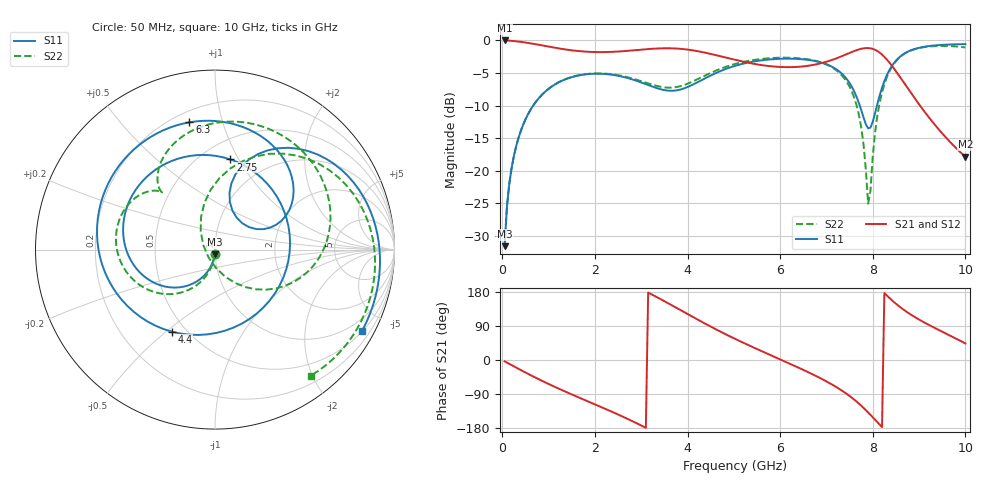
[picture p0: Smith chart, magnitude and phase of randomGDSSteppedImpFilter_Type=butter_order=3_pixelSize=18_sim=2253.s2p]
! freq	dB(S11)	phase(S11)	dB(S12)	phase(S12)
!  dB(S21)	phase(S21)	dB(S22)	phase(S22)
!S-par simulation data
#  GHz  S  DB  R 50
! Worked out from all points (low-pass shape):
!   200 points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, 50 MHz to 10 GHz, reference 50 ohm
!   highest |S21| = -0.01 dB at 50 MHz (marker M1); lowest = -17.8 dB at 10 GHz (marker M2)
!   |S21| within 3 dB of the highest: start of sweep to 5.043 GHz; 7.114 GHz to 8.313 GHz (1.199 GHz wide, 15.5 % of centre)
!   lowest |S11| = -31.5 dB at 50 MHz (marker M3), VSWR 1.05, Z = 49.8 - j2.63 ohm
!   |S11| at or under -10 dB: start of sweep to 667.5 MHz; 7.719 GHz to 8.09 GHz (371.1 MHz wide, 4.69 % of centre)
!   |S22| runs from -31.5 to -0.8 dB; largest |S21 - S12| = 0
!   S11 on the Smith chart (normalised r, x): 50 MHz: 1.00, -0.05; 2.75 GHz: 0.68, +0.92; 4.4 GHz: 0.42, -0.52; 6.3 GHz: 0.26, +0.78; 10 GHz: 0.51, -3.78
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0.05  -31.54 -93.6  -0.01 -3.4  -0.01 -3.4  -31.49 -93.1
0.2  -19.62 -105.0  -0.07 -13.5  -0.07 -13.5  -19.59 -102.7
0.5  -12.12 -126.5  -0.32 -33.0  -0.32 -33.0  -12.11 -120.5
1.05  -7.16 -163.4  -1.02 -66.2  -1.02 -66.2  -7.14 -150.0
1.75  -5.25 152.5  -1.70 -104.0  -1.70 -104.0  -5.21 178.7
2.75  -5.86 80.3  -1.57 -157.9  -1.57 -157.9  -5.72 143.8
3.4  -7.45 11.0  -1.22 161.9  -1.22 161.9  -7.08 133.1
3.95  -7.29 -63.7  -1.36 124.8  -1.36 124.8  -6.78 132.4
4.4  -5.74 -117.7  -1.91 94.6  -1.91 94.6  -5.31 125.6
5.05  -3.85 -176.2  -3.02 54.4  -3.02 54.4  -3.57 104.1
5.6  -3.05 144.9  -3.79 23.4  -3.79 23.4  -2.84 81.6
6.3  -2.81 101.4  -4.09 -14.8  -4.09 -14.8  -2.68 49.8
6.7  -3.09 77.3  -3.78 -37.7  -3.78 -37.7  -3.03 29.2
7.15  -4.15 49.5  -2.92 -66.8  -2.92 -66.8  -4.26 1.7
7.55  -7.14 25.7  -1.77 -99.7  -1.77 -99.7  -7.87 -32.3
7.75  -10.66 22.8  -1.28 -120.5  -1.28 -120.5  -13.29 -59.0
7.9  -13.49 43.6  -1.17 -138.4  -1.17 -138.4  -25.02 -130.4
8.1  -9.73 75.7  -1.64 -164.1  -1.64 -164.1  -11.47 102.8
8.35  -4.67 65.7  -3.32 164.8  -3.32 164.8  -4.90 66.1
8.7  -1.94 39.2  -6.77 129.8  -6.77 129.8  -1.97 30.2
9.05  -1.05 16.6  -10.29 103.2  -10.29 103.2  -1.10 4.1
10  -0.57 -29.1  -17.83 43.6  -17.83 43.6  -1.09 -52.8
